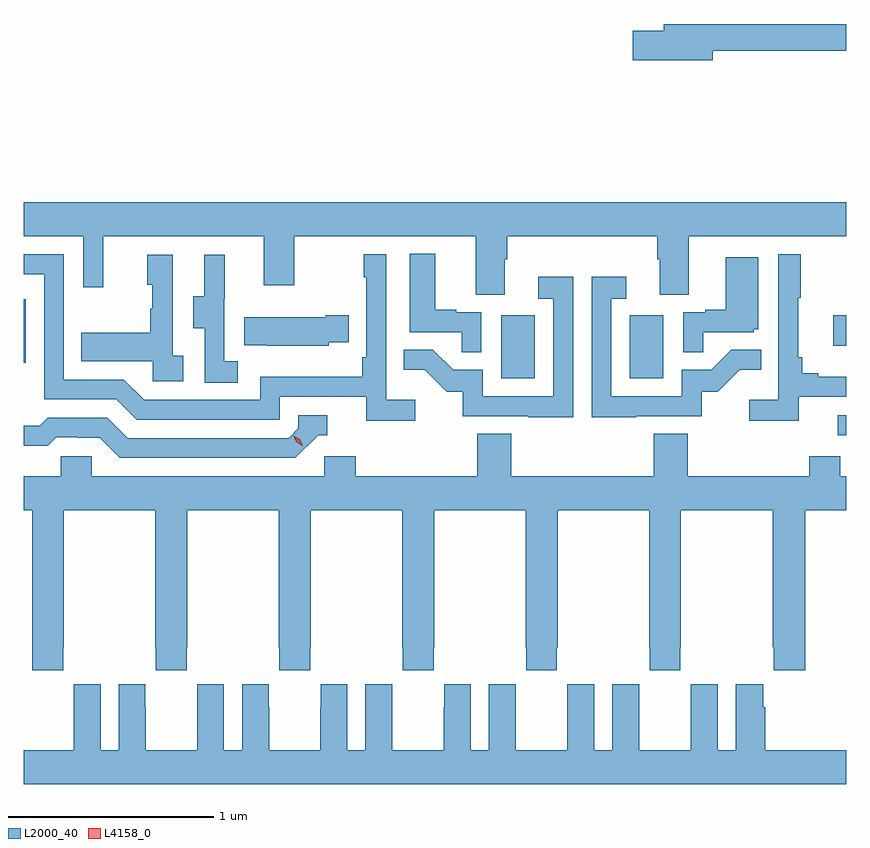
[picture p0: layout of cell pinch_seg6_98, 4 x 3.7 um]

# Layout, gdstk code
import gdstk
lib = gdstk.Library(unit=1e-6, precision=1e-09)
def R(c, l, rs):  # rectangles x0, y0, x1, y1
    for r in rs: c.add(gdstk.rectangle(r[:2], r[2:], *l))
def P(c, l, *ps):  # polygons
    for p in ps: c.add(gdstk.Polygon(p, *l))
L2000_40 = (2000, 40)
L4158_0 = (4158, 0)

pinch_seg6_98 = lib.new_cell('pinch_seg6_98')
R(pinch_seg6_98, L2000_40, [(951.323,922.392,951.366,922.488), (949.688,922.668,949.852,922.975), (950.312,922.668,950.476,922.975), (947.366,922.743,947.376,923.052), (951.303,922.826,951.366,922.974)])
P(pinch_seg6_98, L2000_40, [(950.716,924.262),(951.366,924.262),(951.366,924.391),(950.477,924.391),(950.477,924.357),(950.328,924.357),(950.328,924.215),(950.716,924.215)],
  [(949.705,923.248),(949.718,923.248),(949.718,923.36),(950.447,923.36),(950.447,923.248),(950.459,923.248),(950.459,923.074),(950.599,923.074),(950.599,923.36),(951.366,923.36),(951.366,923.524),(947.366,923.524),(947.366,923.36),(947.655,923.36),(947.655,923.112),(947.753,923.112),(947.753,923.36),(948.533,923.36),(948.533,923.121),(948.681,923.121),(948.681,923.36),(949.565,923.36),(949.565,923.074),(949.705,923.074)],
  [(949.59,922.989),(949.469,922.989),(949.469,923.002),(949.366,923.002),(949.366,923.275),(949.244,923.275),(949.244,922.893),(949.495,922.893),(949.495,922.795),(949.59,922.795)],
  [(951.134,922.578),(951.366,922.578),(951.366,922.675),(951.229,922.675),(951.229,922.694),(951.152,922.694),(951.152,922.771),(951.133,922.771),(951.133,923.059),(951.145,923.059),(951.145,923.272),(951.036,923.272),(951.036,922.564),(950.895,922.564),(950.895,922.462),(951.134,922.462)],
  [(949.27,922.564),(949.128,922.564),(949.128,923.272),(949.02,923.272),(949.02,923.159),(949.032,923.159),(949.032,922.771),(949.012,922.771),(949.012,922.675),(948.516,922.675),(948.516,922.563),(947.952,922.563),(947.853,922.662),(947.562,922.662),(947.562,923.271),(947.366,923.271),(947.366,923.175),(947.466,923.175),(947.466,922.566),(947.816,922.566),(947.915,922.467),(948.612,922.467),(948.612,922.578),(949.031,922.578),(949.031,922.462),(949.27,922.462)],
  [(948.406,922.751),(948.342,922.751),(948.342,923.055),(948.344,923.055),(948.344,923.269),(948.245,923.269),(948.245,923.067),(948.191,923.067),(948.191,922.912),(948.246,922.912),(948.246,922.648),(948.406,922.648)],
  [(948.142,922.778),(948.09,922.778),(948.09,923.269),(947.966,923.269),(947.966,923.124),(947.992,923.124),(947.992,923.006),(947.982,923.006),(947.982,922.891),(947.647,922.891),(947.647,922.751),(947.994,922.751),(947.994,922.653),(948.142,922.653)],
  [(950.669,922.893),(950.916,922.893),(950.916,922.908),(950.938,922.908),(950.938,923.257),(950.78,923.257),(950.78,923.002),(950.681,923.002),(950.681,922.989),(950.574,922.989),(950.574,922.795),(950.669,922.795)],
  [(950.037,923.161),(949.869,923.161),(949.869,923.055),(949.941,923.055),(949.941,922.581),(949.599,922.581),(949.599,922.71),(949.454,922.71),(949.356,922.808),(949.213,922.808),(949.213,922.709),(949.317,922.709),(949.424,922.602),(949.501,922.602),(949.501,922.485),(949.819,922.485),(949.819,922.48),(950.037,922.48)],
  [(950.345,922.485),(950.664,922.485),(950.664,922.602),(950.74,922.602),(950.847,922.709),(950.951,922.709),(950.951,922.808),(950.807,922.808),(950.709,922.71),(950.565,922.71),(950.565,922.581),(950.223,922.581),(950.223,923.055),(950.296,923.055),(950.296,923.161),(950.127,923.161),(950.127,922.48),(950.345,922.48)],
  [(948.849,922.844),(948.947,922.844),(948.947,922.974),(948.836,922.974),(948.836,922.966),(948.439,922.966),(948.439,922.829),(948.547,922.829),(948.547,922.826),(948.849,922.826)],
  [(948.798,922.392),(948.841,922.392),(948.841,922.488),(948.702,922.488),(948.702,922.425),(948.654,922.377),(947.871,922.377),(947.772,922.476),(947.483,922.476),(947.444,922.437),(947.366,922.437),(947.366,922.341),(947.483,922.341),(947.525,922.383),(947.628,922.383),(947.628,922.38),(947.735,922.38),(947.834,922.281),(948.687,922.281)],
  [(949.207,921.361),(949.209,921.361),(949.209,921.249),(949.359,921.249),(949.359,921.361),(949.362,921.361),(949.362,922.028),(949.807,922.028),(949.807,921.361),(949.809,921.361),(949.809,921.249),(949.959,921.249),(949.959,921.361),(949.962,921.361),(949.962,922.028),(950.407,922.028),(950.407,921.361),(950.409,921.361),(950.409,921.249),(950.559,921.249),(950.559,921.361),(950.562,921.361),(950.562,922.028),(951.007,922.028),(951.007,921.361),(951.013,921.361),(951.013,921.249),(951.167,921.249),(951.167,922.028),(951.366,922.028),(951.366,922.192),(951.336,922.192),(951.336,922.29),(951.185,922.29),(951.185,922.192),(950.594,922.192),(950.594,922.4),(950.429,922.4),(950.429,922.192),(949.736,922.192),(949.736,922.4),(949.571,922.4),(949.571,922.192),(948.98,922.192),(948.98,922.29),(948.828,922.29),(948.828,922.192),(947.697,922.192),(947.697,922.29),(947.547,922.29),(947.547,922.192),(947.366,922.192),(947.366,922.028),(947.407,922.028),(947.407,921.361),(947.409,921.361),(947.409,921.249),(947.559,921.249),(947.559,921.361),(947.562,921.361),(947.562,922.028),(948.007,922.028),(948.007,921.361),(948.009,921.361),(948.009,921.249),(948.159,921.249),(948.159,921.361),(948.162,921.361),(948.162,922.028),(948.607,922.028),(948.607,921.361),(948.609,921.361),(948.609,921.249),(948.759,921.249),(948.759,921.361),(948.762,921.361),(948.762,922.028),(949.207,922.028)],
  [(948.81,921.181),(948.81,921.068),(948.809,921.068),(948.809,920.86),(948.559,920.86),(948.559,921.068),(948.558,921.068),(948.558,921.181),(948.428,921.181),(948.428,920.86),(948.34,920.86),(948.34,921.181),(948.21,921.181),(948.21,921.068),(948.209,921.068),(948.209,920.86),(947.959,920.86),(947.959,921.068),(947.958,921.068),(947.958,921.181),(947.828,921.181),(947.828,920.86),(947.74,920.86),(947.74,921.181),(947.61,921.181),(947.61,921.068),(947.609,921.068),(947.609,920.86),(947.366,920.86),(947.366,920.696),(951.366,920.696),(951.366,920.86),(950.972,920.86),(950.972,921.068),(950.962,921.068),(950.962,921.181),(950.828,921.181),(950.828,920.86),(950.74,920.86),(950.74,921.181),(950.61,921.181),(950.61,921.068),(950.609,921.068),(950.609,920.86),(950.359,920.86),(950.359,921.068),(950.358,921.068),(950.358,921.181),(950.228,921.181),(950.228,920.86),(950.14,920.86),(950.14,921.181),(950.01,921.181),(950.01,921.068),(950.009,921.068),(950.009,920.86),(949.759,920.86),(949.759,921.068),(949.758,921.068),(949.758,921.181),(949.628,921.181),(949.628,920.86),(949.54,920.86),(949.54,921.181),(949.41,921.181),(949.41,921.068),(949.409,921.068),(949.409,920.86),(949.159,920.86),(949.159,921.068),(949.158,921.068),(949.158,921.181),(949.028,921.181),(949.028,920.86),(948.94,920.86),(948.94,921.181)])
P(pinch_seg6_98, L4158_0, [(948.724,922.338),(948.693,922.357),(948.677,922.39),(948.677,922.39),(948.677,922.39),(948.708,922.371),(948.724,922.338),(948.724,922.338)])

lib.write_gds('pinch_seg6_98.gds')
